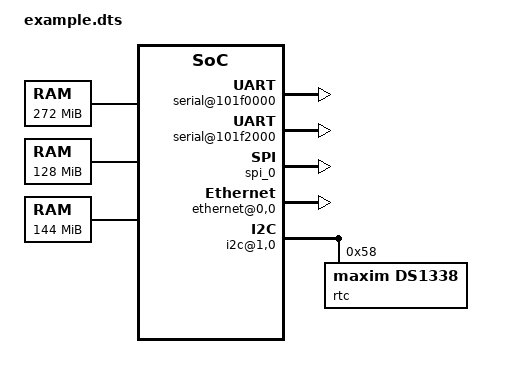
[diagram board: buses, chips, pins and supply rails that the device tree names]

//第一行表示这个dts文件的版本
/dts-v1/;

/ {
	compatible = "acme,coyotes-revenge";
	//root节点的address-cells和size-cells作用到gpio,serial,spi,intc上，表示address和length字段长度分别是1.
	#address-cells = <1>;
	#size-cells = <1>;
	/**
	 设备结点透过它来指定它所依附的中断控制器的phandle，当结点没有指定interrupt-parent时，
	 则从父级结点继承。对于本例而言，root结点指定了interrupt-parent = <&intc>;其对应于
	 intc: interrupt-controller@10140000，而root结点的子结点并未指定interrupt-parent，因
	 此它们都继承了intc，即位于0x10140000的中断控制器。
	 **/
	interrupt-parent = <&intc>;

	chosen {
		bootargs = "root=/dev/nfs ip=dhcp rw";
	};  

	//为节点声明别名
	aliases {
		spi = &spi_0;
	};

	//该节点在每个设备树中必然存在一个,假设我们的设备具有两块内存
	//内存1:0xe0000000 lenght:0x08000000
	//内存2:0xf0000000 lenght:0x09000000
	memory {
		device_type = "memory";
		reg = <	0xE0000000 0x08000000
				0xf0000000 0x09000000>;
	};
	//或者也可以这么写
	memory@0xe0000000 {
		device_type = "memory";
		reg = <0xe0000000 0x08000000>;
	};
	memory@0xf0000000 {
		device_type = "memory";
		reg = <0xf0000000 0x09000000>;
	};

	cpus {
		//cpus节点中的address-cells和size-cells只对他的字节点起作用
		//所以作用范围是cpu@0和cpu@1
		#address-cells = <1>;
		#size-cells = <0>;
		cpu@0 {
			compatible = "arm,cortex-a9";
			//受cpus中的address-cells和size-cells影响，reg中只有一位，表示地址
			reg = <0>;
		};
		cpu@1 {
			compatible = "arm,cortex-a9";
			reg = <1>;
		};
	};

	serial@101f0000 {
		compatible = "arm,pl011";
		//root中的address-cell和size-cells作用到这里
		//reg中的第一位表示address 第二位表示length
		reg = <0x101f0000 0x1000 >;
		interrupts = < 1 0 >;
	};

	serial@101f2000 {
		compatible = "arm,pl011";
		//root中的address-cell和size-cells作用到这里
		//reg中的第一位表示address 第二位表示length
		reg = <0x101f2000 0x1000 >;
		interrupts = < 2 0 >;
	};

	gpio@101f3000 {
		compatible = "arm,pl061";
		//root中的address-cell和size-cells作用到这里
		//reg中的第一位表示address 第二位表示length
		//第三位表示address 第四位表示length
		reg = <	0x101f3000 0x1000
				0x101f4000 0x0010 >;

		/*
		   用到了中断的设备结点透过它指定中断号、触发方法等，具体这个属性含有多少个cell，
		   由它依附的中断控制器结点的#interrupt-cells属性决定。而具体每个cell又是什么含义，
		   一般由驱动的实现决定，而且也会在Device Tree的binding文档中说明。譬如，对于ARM GIC
		   中断控制器而言，#interrupt-cells为3，它3个cell的具体含义
		 01   The 1st cell is the interrupt type; 0 for SPI interrupts, 1 for PPI
		 02   interrupts.
		 03
		 04   The 2nd cell contains the interrupt number for the interrupt type.
		 05   SPI interrupts are in the range [0-987].  PPI interrupts are in the
		 06   range [0-15].
		 07
		 08   The 3rd cell is the flags, encoded as follows:
		 09         bits[3:0] trigger type and level flags.
		 10                 1 = low-to-high edge triggered
		 11                 2 = high-to-low edge triggered
		 12                 4 = active high level-sensitive
		 13                 8 = active low level-sensitive
		 14         bits[15:8] PPI interrupt cpu mask.  Each bit corresponds to each of
		 15         the 8 possible cpus attached to the GIC.  A bit set to '1' indicated
		 16         the interrupt is wired to that CPU.  Only valid for PPI interrupts.
			在本例子中intc里面定义了#interrupt-cells = <2> 所以节点中的interrupts 的属性
			只有两个值.
		 */
		interrupts = < 3 0 >;
	};

	intc: interrupt-controller@10140000 {
		compatible = "arm,pl190";
		//root中的address-cell和size-cells作用到这里
		//reg中的第一位表示address 第二位表示length
		reg = <0x10140000 0x1000>;
		//interrupt-controller – 这个属性为空，中断控制器应该加上此属性表明自己的身份
		interrupt-controller;
		//与#address-cells 和 #size-cells相似，它表明连接此中断控制器的设备的interrupts属性的cell大小
		#interrupt-cells = <2>;
	};

	spi_0:spi@10115000 {
		compatible = "arm,pl022";
		//root中的address-cell和size-cells作用到这里
		//reg中的第一位表示address 第二位表示length
		reg = <0x10115000 0x1000 >;
		interrupts = < 4 0 >;
	};

	external-bus {
		//external-bus中的address-cells和size-cells只对他的子节点产生作用
		//表示address占2位 lenght占1位
		#address-cells = <2>;
		#size-cells = <1>;

		/*
		 ranges属性定义了经过external-bus桥后的地址范围如何映射到CPU的memory区域.
		 ranges是地址转换表，其中的每个项目是一个子地址、父地址以及在子地址空间的
		 大小的映射。
		 映射表中的子地址、父地址分别采用子地址空间的#address-cells和父地址空间
		 的#address-cells大小。对于本例而言，子地址空间的#address-cells为2，父地址
		 空间的#address-cells值为1.
		 因此0 0 0x10100000 0x10000的前2个cell为external-bus后片选0上偏移0，
		 第3个cell表示external-bus后片选0上偏移0的地址空间被映射到CPU的0x10100000位置，
		 第4个cell表示映射的大小为0x10000。
		 ranges的后面2个项目的含义可以类推。
		 */
		ranges = <	0 0  0x10100000   0x10000     // Chipselect 1, Ethernet
					1 0  0x10160000   0x10000     // Chipselect 2, i2c controller
					2 0  0x30000000   0x1000000 >; // Chipselect 3, NOR Flash

		ethernet@0,0 {
			compatible = "smc,smc91c111";
			// 0 0 表示address 0x1000表示lenght
			reg = <0 0 0x1000>;
			interrupts = < 5 2 >;
		};

		i2c@1,0 {
			compatible = "acme,a1234-i2c-bus";
			#address-cells = <1>;
			#size-cells = <0>;
			//这里对reg产生影响的是external-bus的address-cells和size-cells
			//1 0 表示address 0x1000表示lenght
			reg = <1 0 0x1000>;
			interrupts = < 6 2 >;
			rtc@58 {
				compatible = "maxim,ds1338";
				//对rtc@58节点产生作用的i2c@1,0节点中的address-cells和size-cells
				//所以这里的address占1位，lenght占0位，即address为0x58
				reg = <0x58>;
				interrupts = < 7 3 >;
			};
		};

		flash@2,0 {
			compatible = "samsung,k8f1315ebm", "cfi-flash";
			//reg受flash@2,0的父节点中的address-cells和size-cells影响
			//2 0 表示address 0x40000000表示lenght
			reg = <2 0 0x4000000>;
		};
	};
};
